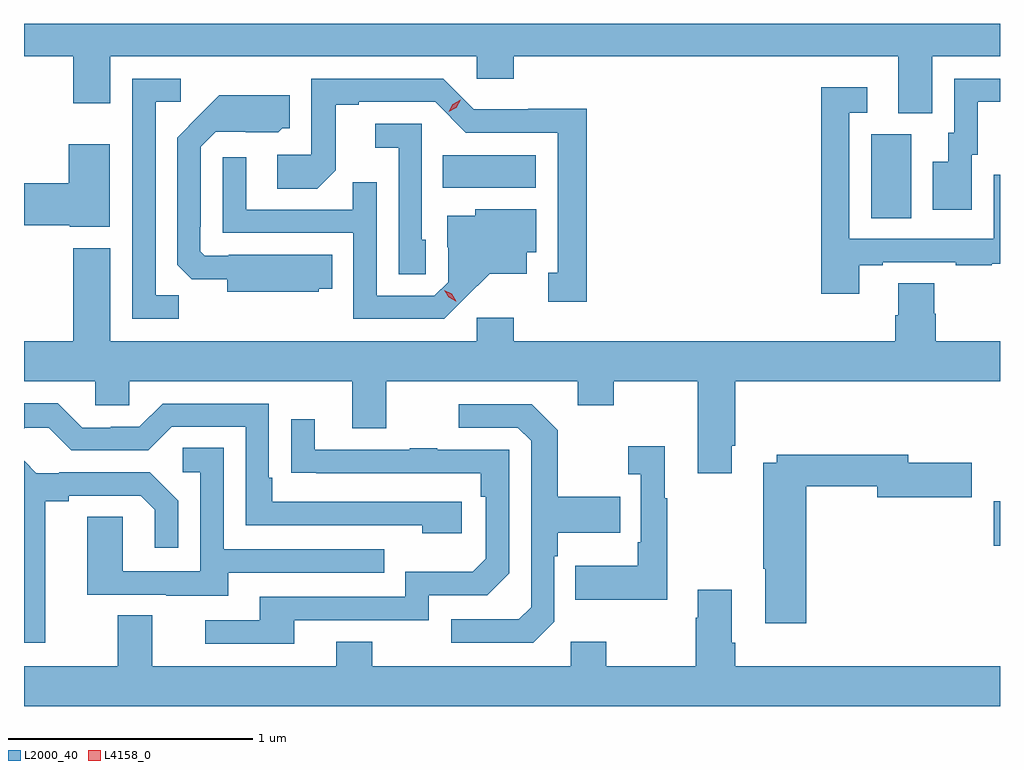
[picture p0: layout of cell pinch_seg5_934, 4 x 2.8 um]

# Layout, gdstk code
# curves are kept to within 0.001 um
import gdstk
lib = gdstk.Library(unit=1e-6, precision=1e-09)
def R(c, l, rs):  # rectangles x0, y0, x1, y1
    for r in rs: c.add(gdstk.rectangle(r[:2], r[2:], *l))
def P(c, l, *ps):  # polygons
    for p in ps: c.add(gdstk.Polygon(p, *l))
L2000_40 = (2000, 40)
L4158_0 = (4158, 0)

pinch_seg5_934 = lib.new_cell('pinch_seg5_934')
R(pinch_seg5_934, L2000_40, [(734.808,913.361,734.834,913.544), (734.306,914.704,734.47,915.048), (732.55,914.828,732.931,914.962)])
P(pinch_seg5_934, L2000_40, [(734.557,915.368),(734.834,915.368),(734.834,915.5),(730.834,915.5),(730.834,915.368),(731.036,915.368),(731.036,915.174),(731.188,915.174),(731.188,915.368),(732.69,915.368),(732.69,915.275),(732.842,915.275),(732.842,915.368),(734.417,915.368),(734.417,915.133),(734.557,915.133)],
  [(731.469,914.387),(731.373,914.387),(731.373,915.18),(731.476,915.18),(731.476,915.276),(731.277,915.276),(731.277,914.292),(731.469,914.292)],
  [(734.719,914.964),(734.743,914.964),(734.743,915.18),(734.834,915.18),(734.834,915.276),(734.646,915.276),(734.646,915.054),(734.621,915.054),(734.621,914.935),(734.558,914.935),(734.558,914.739),(734.719,914.739)],
  [(733.141,915.152),(732.9,915.152),(732.9,915.15),(732.678,915.15),(732.552,915.276),(732.012,915.276),(732.012,914.964),(731.871,914.964),(731.871,914.824),(732.035,914.824),(732.111,914.9),(732.111,915.168),(732.205,915.168),(732.205,915.18),(732.519,915.18),(732.645,915.054),(733.022,915.054),(733.022,914.481),(732.983,914.481),(732.983,914.361),(733.141,914.361)],
  [(734.257,914.511),(734.353,914.511),(734.353,914.523),(734.653,914.523),(734.653,914.511),(734.801,914.511),(734.801,914.517),(734.834,914.517),(734.834,914.881),(734.808,914.881),(734.808,914.619),(734.217,914.619),(734.217,915.135),(734.29,915.135),(734.29,915.241),(734.101,915.241),(734.101,914.394),(734.257,914.394)],
  [(732.042,914.414),(732.098,914.414),(732.098,914.554),(731.674,914.554),(731.674,914.55),(731.574,914.55),(731.556,914.568),(731.556,914.668),(731.559,914.668),(731.559,914.997),(731.619,915.057),(731.876,915.056),(731.892,915.072),(731.923,915.072),(731.923,915.208),(731.635,915.208),(731.463,915.034),(731.463,914.512),(731.522,914.453),(731.666,914.453),(731.666,914.402),(732.042,914.402)],
  [(732.48,914.616),(732.465,914.616),(732.465,915.09),(732.273,915.09),(732.273,914.993),(732.369,914.993),(732.369,914.473),(732.48,914.473)],
  [(731.185,915.007),(731.018,915.007),(731.018,914.846),(730.834,914.846),(730.834,914.674),(731.022,914.674),(731.022,914.669),(731.185,914.669)],
  [(732.64,914.375),(732.743,914.477),(732.895,914.477),(732.895,914.564),(732.934,914.564),(732.934,914.74),(732.684,914.74),(732.684,914.713),(732.569,914.713),(732.569,914.584),(732.573,914.584),(732.573,914.442),(732.516,914.385),(732.279,914.385),(732.279,914.852),(732.181,914.852),(732.181,914.739),(731.745,914.739),(731.745,914.953),(731.649,914.953),(731.649,914.643),(732.183,914.643),(732.183,914.292),(732.556,914.292)],
  [(733.735,913.771),(733.748,913.771),(733.748,914.036),(734.834,914.036),(734.834,914.2),(734.57,914.2),(734.57,914.313),(734.565,914.313),(734.565,914.438),(734.417,914.438),(734.417,914.306),(734.405,914.306),(734.405,914.2),(732.842,914.2),(732.842,914.296),(732.69,914.296),(732.69,914.2),(731.188,914.2),(731.188,914.581),(731.036,914.581),(731.036,914.2),(730.834,914.2),(730.834,914.036),(731.127,914.036),(731.127,913.938),(731.265,913.938),(731.265,914.036),(732.179,914.036),(732.179,913.842),(732.319,913.842),(732.319,914.036),(733.103,914.036),(733.103,913.937),(733.251,913.937),(733.251,914.036),(733.595,914.036),(733.595,913.659),(733.735,913.659)],
  [(732.628,913.542),(731.851,913.542),(731.851,913.639),(731.838,913.639),(731.838,913.944),(731.403,913.944),(731.307,913.848),(731.189,913.848),(731.189,913.845),(731.073,913.845),(730.973,913.945),(730.834,913.945),(730.834,913.841),(730.835,913.845),(730.935,913.845),(731.028,913.752),(731.343,913.752),(731.439,913.848),(731.742,913.848),(731.742,913.446),(732.467,913.446),(732.467,913.412),(732.628,913.412)],
  [(733.008,913.05),(733.008,913.319),(733.021,913.319),(733.021,913.415),(733.277,913.415),(733.277,913.563),(733.021,913.563),(733.021,913.835),(732.915,913.941),(732.615,913.941),(732.615,913.845),(732.858,913.845),(732.912,913.791),(732.912,913.11),(732.861,913.059),(732.585,913.059),(732.585,912.963),(732.921,912.963)],
  [(731.941,913.056),(732.492,913.056),(732.492,913.158),(732.732,913.158),(732.822,913.248),(732.822,913.755),(732.527,913.755),(732.527,913.76),(732.415,913.76),(732.415,913.755),(732.025,913.755),(732.025,913.879),(731.929,913.879),(731.929,913.66),(732.706,913.659),(732.706,913.562),(732.726,913.562),(732.726,913.308),(732.673,913.255),(732.396,913.255),(732.396,913.152),(731.801,913.152),(731.801,913.056),(731.577,913.056),(731.577,912.96),(731.941,912.96)],
  [(733.471,913.555),(733.459,913.555),(733.459,913.768),(733.311,913.768),(733.311,913.655),(733.362,913.655),(733.362,913.375),(733.35,913.375),(733.35,913.279),(733.093,913.279),(733.093,913.139),(733.471,913.139)],
  [(731.671,913.251),(732.311,913.251),(732.311,913.347),(731.652,913.347),(731.652,913.763),(731.484,913.763),(731.484,913.662),(731.556,913.662),(731.556,913.257),(731.238,913.257),(731.238,913.481),(731.093,913.481),(731.093,913.161),(731.417,913.161),(731.417,913.157),(731.671,913.157)],
  [(734.039,913.606),(734.33,913.606),(734.33,913.559),(734.719,913.559),(734.719,913.701),(734.458,913.701),(734.458,913.735),(733.92,913.735),(733.92,913.702),(733.864,913.702),(733.864,913.267),(733.871,913.267),(733.871,913.044),(734.039,913.044)],
  [(730.921,913.544),(731.017,913.544),(731.017,913.566),(731.312,913.566),(731.369,913.509),(731.369,913.353),(731.466,913.353),(731.466,913.546),(731.35,913.662),(730.978,913.662),(730.978,913.659),(730.884,913.659),(730.834,913.709),(730.834,912.963),(730.921,912.963)],
  [(734.834,912.868),(733.748,912.868),(733.748,912.964),(733.735,912.964),(733.735,913.18),(733.595,913.18),(733.595,913.067),(733.588,913.067),(733.588,912.868),(733.221,912.868),(733.221,912.967),(733.074,912.967),(733.074,912.868),(732.261,912.868),(732.261,912.967),(732.113,912.967),(732.113,912.868),(731.359,912.868),(731.359,913.076),(731.219,913.076),(731.219,912.868),(730.834,912.868),(730.834,912.704),(734.834,912.704)])
P(pinch_seg5_934, L4158_0, [(732.574,915.139),(732.574,915.139),(732.592,915.171),(732.623,915.19),(732.624,915.19),(732.624,915.19),(732.606,915.157),(732.574,915.139)],
  [(732.604,914.364),(732.574,914.379),(732.556,914.409),(732.556,914.409),(732.556,914.409),(732.587,914.394),(732.605,914.364),(732.605,914.364)])

lib.write_gds('pinch_seg5_934.gds')
